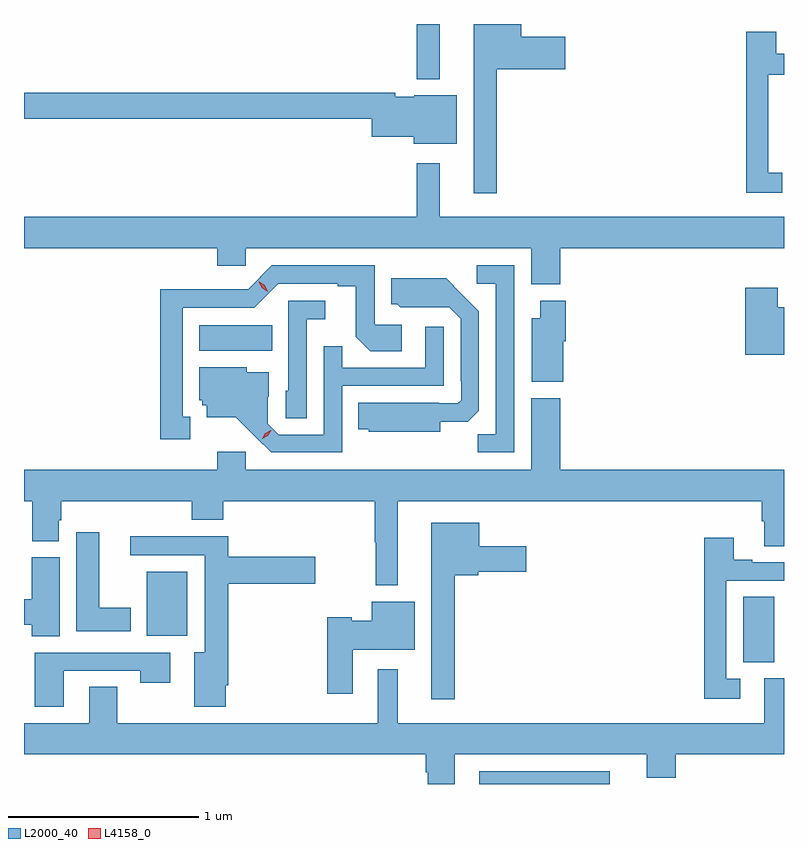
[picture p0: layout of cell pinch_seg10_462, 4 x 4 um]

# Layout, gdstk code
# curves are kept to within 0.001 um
import gdstk
lib = gdstk.Library(unit=1e-6, precision=1e-09)
def R(c, l, rs):  # rectangles x0, y0, x1, y1
    for r in rs: c.add(gdstk.rectangle(r[:2], r[2:], *l))
def P(c, l, *ps):  # polygons
    for p in ps: c.add(gdstk.Polygon(p, *l))
L2000_40 = (2000, 40)
L4158_0 = (4158, 0)

pinch_seg10_462 = lib.new_cell('pinch_seg10_462')
R(pinch_seg10_462, L2000_40, [(276.041,1298.827,276.728,1298.895), (277.43,1299.469,277.594,1299.812), (274.292,1299.608,274.504,1299.943), (274.568,1301.108,274.952,1301.242), (275.712,1302.536,275.833,1302.827)])
P(pinch_seg10_462, L2000_40, [(276.133,1302.59),(276.493,1302.59),(276.493,1302.76),(276.262,1302.76),(276.262,1302.827),(276.011,1302.827),(276.011,1301.937),(276.133,1301.937)],
  [(277.636,1302.045),(277.563,1302.045),(277.563,1302.561),(277.645,1302.561),(277.645,1302.67),(277.603,1302.67),(277.603,1302.787),(277.447,1302.787),(277.447,1301.94),(277.636,1301.94)],
  [(275.923,1302.451),(275.7,1302.451),(275.7,1302.445),(275.6,1302.445),(275.6,1302.464),(273.645,1302.464),(273.645,1302.328),(275.474,1302.328),(275.474,1302.233),(275.696,1302.233),(275.696,1302.197),(275.923,1302.197)],
  [(276.467,1301.648),(277.645,1301.648),(277.645,1301.812),(275.833,1301.812),(275.833,1302.094),(275.712,1302.094),(275.712,1301.812),(273.645,1301.812),(273.645,1301.648),(274.661,1301.648),(274.661,1301.555),(274.812,1301.555),(274.812,1301.648),(276.314,1301.648),(276.314,1301.456),(276.467,1301.456)],
  [(276.225,1301.556),(276.027,1301.556),(276.027,1301.46),(276.129,1301.46),(276.129,1300.667),(276.034,1300.667),(276.034,1300.572),(276.225,1300.572)],
  [(274.519,1300.761),(274.48,1300.761),(274.48,1301.334),(274.857,1301.334),(274.983,1301.46),(275.297,1301.46),(275.297,1301.448),(275.391,1301.448),(275.391,1301.18),(275.467,1301.104),(275.632,1301.104),(275.632,1301.244),(275.49,1301.244),(275.49,1301.556),(274.95,1301.556),(274.824,1301.43),(274.602,1301.43),(274.602,1301.432),(274.362,1301.432),(274.362,1300.641),(274.519,1300.641)],
  [(275.836,1300.733),(275.98,1300.733),(276.039,1300.792),(276.039,1301.314),(275.867,1301.488),(275.579,1301.488),(275.579,1301.352),(275.61,1301.352),(275.626,1301.336),(275.883,1301.337),(275.943,1301.277),(275.943,1300.948),(275.946,1300.948),(275.946,1300.848),(275.928,1300.83),(275.828,1300.83),(275.828,1300.834),(275.404,1300.834),(275.404,1300.694),(275.46,1300.694),(275.46,1300.682),(275.836,1300.682)],
  [(277.645,1301.335),(277.612,1301.335),(277.612,1301.44),(277.442,1301.44),(277.442,1301.087),(277.645,1301.087)],
  [(276.484,1301.157),(276.497,1301.157),(276.497,1301.371),(276.362,1301.371),(276.362,1301.278),(276.317,1301.278),(276.317,1300.943),(276.484,1300.943)],
  [(275.133,1301.273),(275.23,1301.273),(275.23,1301.37),(275.037,1301.37),(275.037,1300.896),(275.022,1300.896),(275.022,1300.753),(275.133,1300.753)],
  [(275.319,1300.923),(275.853,1300.923),(275.853,1301.233),(275.757,1301.233),(275.757,1301.019),(275.321,1301.019),(275.321,1301.132),(275.223,1301.132),(275.223,1300.665),(274.986,1300.665),(274.929,1300.722),(274.929,1300.864),(274.933,1300.864),(274.933,1300.993),(274.818,1300.993),(274.818,1301.02),(274.568,1301.02),(274.568,1300.848),(274.584,1300.848),(274.584,1300.821),(274.607,1300.821),(274.607,1300.757),(274.759,1300.757),(274.946,1300.572),(275.319,1300.572)],
  [(275.611,1300.316),(277.529,1300.316),(277.529,1300.21),(277.541,1300.21),(277.541,1300.078),(277.645,1300.078),(277.645,1300.48),(276.467,1300.48),(276.467,1300.858),(276.314,1300.858),(276.314,1300.48),(274.812,1300.48),(274.812,1300.576),(274.661,1300.576),(274.661,1300.48),(273.645,1300.48),(273.645,1300.316),(273.689,1300.316),(273.689,1300.105),(273.829,1300.105),(273.829,1300.215),(273.842,1300.215),(273.842,1300.316),(274.529,1300.316),(274.529,1300.217),(274.694,1300.217),(274.694,1300.316),(275.49,1300.316),(275.49,1300.1),(275.497,1300.1),(275.497,1299.872),(275.611,1299.872)],
  [(275.911,1299.926),(276.036,1299.926),(276.036,1299.944),(276.289,1299.944),(276.289,1300.078),(276.04,1300.078),(276.04,1300.201),(275.789,1300.201),(275.789,1299.273),(275.911,1299.273)],
  [(274.207,1299.754),(274.042,1299.754),(274.042,1300.153),(273.92,1300.153),(273.92,1299.632),(274.207,1299.632)],
  [(274.708,1299.346),(274.721,1299.346),(274.721,1299.881),(275.179,1299.881),(275.179,1300.023),(274.721,1300.023),(274.721,1300.13),(274.203,1300.13),(274.203,1300.032),(274.595,1300.032),(274.595,1299.52),(274.541,1299.52),(274.541,1299.234),(274.708,1299.234)],
  [(277.414,1299.381),(277.341,1299.381),(277.341,1299.897),(277.645,1299.897),(277.645,1299.993),(277.477,1299.993),(277.477,1300.006),(277.381,1300.006),(277.381,1300.123),(277.225,1300.123),(277.225,1299.276),(277.414,1299.276)],
  [(273.832,1300.02),(273.686,1300.02),(273.686,1299.8),(273.645,1299.8),(273.645,1299.664),(273.686,1299.664),(273.686,1299.604),(273.832,1299.604)],
  [(275.374,1299.533),(275.701,1299.533),(275.701,1299.787),(275.474,1299.787),(275.474,1299.686),(275.37,1299.686),(275.37,1299.704),(275.24,1299.704),(275.24,1299.303),(275.374,1299.303)],
  [(273.853,1299.423),(274.258,1299.423),(274.258,1299.36),(274.414,1299.36),(274.414,1299.519),(273.701,1299.519),(273.701,1299.234),(273.853,1299.234)],
  [(275.911,1298.984),(276.923,1298.984),(276.923,1298.86),(277.076,1298.86),(277.076,1298.984),(277.645,1298.984),(277.645,1299.384),(277.541,1299.384),(277.541,1299.148),(275.611,1299.148),(275.611,1299.43),(275.507,1299.43),(275.507,1299.148),(274.137,1299.148),(274.137,1299.338),(273.989,1299.338),(273.989,1299.148),(273.645,1299.148),(273.645,1298.984),(275.759,1298.984),(275.759,1298.888),(275.771,1298.888),(275.771,1298.827),(275.911,1298.827)])
P(pinch_seg10_462, L4158_0, [(274.898,1300.644),(274.898,1300.644),(274.914,1300.674),(274.944,1300.69),(274.945,1300.69),(274.945,1300.689),(274.928,1300.659),(274.898,1300.644)],
  [(274.929,1301.419),(274.897,1301.439),(274.88,1301.471),(274.88,1301.472),(274.88,1301.472),(274.912,1301.452),(274.929,1301.42),(274.929,1301.419)])

lib.write_gds('pinch_seg10_462.gds')
